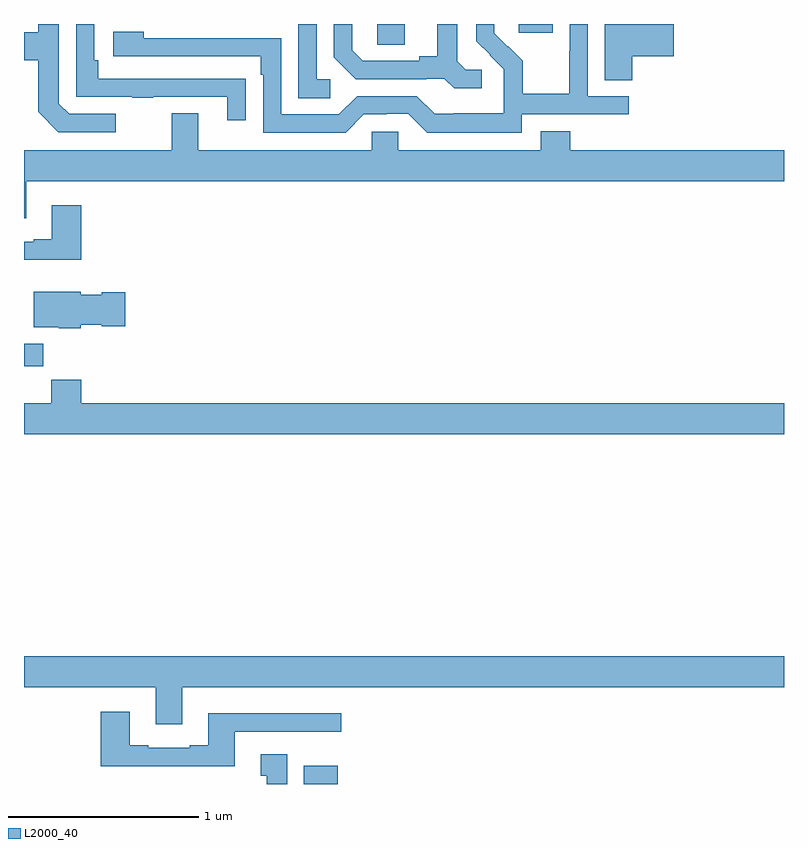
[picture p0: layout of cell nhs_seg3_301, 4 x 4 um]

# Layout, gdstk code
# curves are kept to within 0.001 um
import gdstk
lib = gdstk.Library(unit=1e-6, precision=1e-09)
def R(c, l, rs):  # rectangles x0, y0, x1, y1
    for r in rs: c.add(gdstk.rectangle(r[:2], r[2:], *l))
def P(c, l, *ps):  # polygons
    for p in ps: c.add(gdstk.Polygon(p, *l))
L2000_40 = (2000, 40)

nhs_seg3_301 = lib.new_cell('nhs_seg3_301')
R(nhs_seg3_301, L2000_40, [(126.473,708.4,126.652,708.496), (125,710.598,125.102,710.716), (126.858,712.291,127.003,712.4), (127.604,712.353,127.783,712.4)])
P(nhs_seg3_301, L2000_40, [(127.408,712.158),(127.326,712.158),(127.279,712.205),(127.279,712.4),(127.175,712.4),(127.175,712.229),(127.079,712.229),(127.079,712.206),(126.784,712.206),(126.727,712.263),(126.727,712.4),(126.63,712.4),(126.63,712.226),(126.746,712.11),(127.118,712.11),(127.118,712.113),(127.212,712.113),(127.264,712.061),(127.408,712.061)],
  [(127.62,711.924),(128.182,711.924),(128.182,712.02),(127.968,712.02),(127.968,712.4),(127.872,712.4),(127.872,712.256),(127.87,712.256),(127.87,712.033),(127.625,712.033),(127.625,712.207),(127.548,712.284),(127.545,712.281),(127.475,712.352),(127.475,712.4),(127.38,712.4),(127.38,712.31),(127.526,712.162),(127.526,712.065),(127.524,712.065),(127.524,711.931),(127.261,711.931),(127.261,711.927),(127.161,711.927),(127.068,712.02),(126.753,712.02),(126.657,711.924),(126.354,711.924),(126.354,712.326),(125.63,712.326),(125.63,712.36),(125.469,712.36),(125.469,712.23),(126.245,712.23),(126.245,712.133),(126.258,712.133),(126.258,711.828),(126.693,711.828),(126.789,711.924),(126.908,711.924),(126.908,711.927),(127.023,711.927),(127.123,711.827),(127.62,711.827)],
  [(128.201,712.229),(128.419,712.229),(128.419,712.4),(128.057,712.4),(128.057,712.105),(128.201,712.105)],
  [(126.167,712.112),(126.065,712.112),(126.065,712.113),(125.39,712.113),(125.39,712.21),(125.37,712.21),(125.37,712.4),(125.274,712.4),(125.274,712.017),(125.569,712.017),(125.569,712.012),(125.681,712.012),(125.681,712.017),(126.071,712.017),(126.071,711.894),(126.167,711.894)],
  [(126.613,712.11),(126.54,712.11),(126.54,712.4),(126.444,712.4),(126.444,712.009),(126.613,712.009)],
  [(125.482,711.927),(125.238,711.927),(125.184,711.981),(125.184,712.4),(125.076,712.4),(125.076,712.357),(125,712.357),(125,712.21),(125.076,712.21),(125.076,711.937),(125.181,711.831),(125.482,711.831)],
  [(125.011,711.572),(129,711.572),(129,711.736),(127.874,711.736),(127.874,711.835),(127.721,711.835),(127.721,711.736),(126.969,711.736),(126.969,711.834),(126.831,711.834),(126.831,711.736),(125.917,711.736),(125.917,711.931),(125.777,711.931),(125.777,711.736),(125,711.736),(125,711.378),(125.011,711.378)],
  [(125.3,711.445),(125.147,711.445),(125.147,711.268),(125.051,711.268),(125.051,711.255),(125,711.255),(125,711.158),(125.3,711.158)],
  [(125.298,710.816),(125.409,710.816),(125.409,710.809),(125.533,710.809),(125.533,710.987),(125.409,710.987),(125.409,710.974),(125.298,710.974),(125.298,710.992),(125.051,710.992),(125.051,710.804),(125.184,710.804),(125.184,710.798),(125.298,710.798)],
  [(129,710.404),(125.3,710.404),(125.3,710.528),(125.143,710.528),(125.143,710.404),(125,710.404),(125,710.24),(129,710.24)],
  [(125.833,708.908),(129,708.908),(129,709.072),(125,709.072),(125,708.908),(125.693,708.908),(125.693,708.714),(125.833,708.714)],
  [(126.109,708.675),(126.67,708.675),(126.67,708.772),(125.969,708.772),(125.969,708.604),(125.873,708.604),(125.873,708.591),(125.653,708.591),(125.653,708.604),(125.557,708.604),(125.557,708.781),(125.405,708.781),(125.405,708.494),(126.109,708.494)],
  [(126.385,708.556),(126.245,708.556),(126.245,708.443),(126.278,708.443),(126.278,708.4),(126.385,708.4)])

lib.write_gds('nhs_seg3_301.gds')
